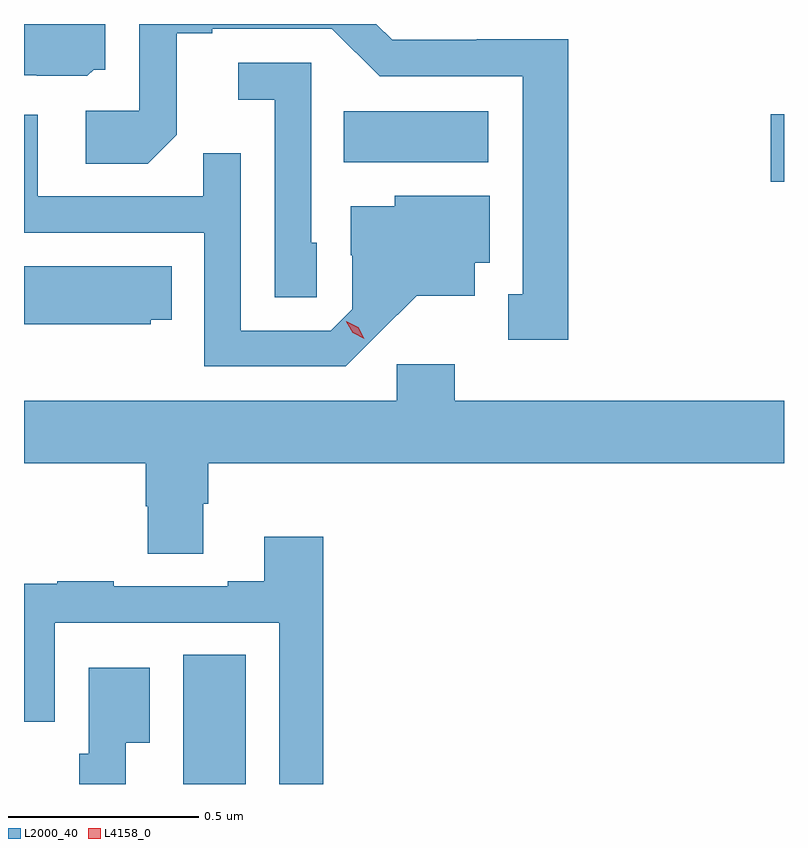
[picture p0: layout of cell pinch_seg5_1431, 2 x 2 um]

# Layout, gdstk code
import gdstk
lib = gdstk.Library(unit=1e-6, precision=1e-09)
def R(c, l, rs):  # rectangles x0, y0, x1, y1
    for r in rs: c.add(gdstk.rectangle(r[:2], r[2:], *l))
def P(c, l, *ps):  # polygons
    for p in ps: c.add(gdstk.Polygon(p, *l))
L2000_40 = (2000, 40)
L4158_0 = (4158, 0)

pinch_seg5_1431 = lib.new_cell('pinch_seg5_1431')
R(pinch_seg5_1431, L2000_40, [(131.84,905.2,132.004,905.54), (133.386,906.785,133.421,906.963), (132.262,906.836,132.643,906.97)])
P(pinch_seg5_1431, L2000_40, [(132.853,907.16),(132.612,907.16),(132.612,907.158),(132.39,907.158),(132.348,907.2),(131.724,907.2),(131.724,906.972),(131.583,906.972),(131.583,906.832),(131.747,906.832),(131.823,906.908),(131.823,907.176),(131.917,907.176),(131.917,907.188),(132.231,907.188),(132.357,907.062),(132.734,907.062),(132.734,906.489),(132.695,906.489),(132.695,906.369),(132.853,906.369)],
  [(131.604,907.08),(131.635,907.08),(131.635,907.2),(131.421,907.2),(131.421,907.065),(131.454,907.065),(131.454,907.064),(131.588,907.064)],
  [(132.192,906.624),(132.177,906.624),(132.177,907.098),(131.985,907.098),(131.985,907.001),(132.081,907.001),(132.081,906.481),(132.192,906.481)],
  [(132.352,906.383),(132.455,906.485),(132.607,906.485),(132.607,906.572),(132.646,906.572),(132.646,906.748),(132.396,906.748),(132.396,906.721),(132.281,906.721),(132.281,906.592),(132.285,906.592),(132.285,906.45),(132.228,906.393),(131.991,906.393),(131.991,906.86),(131.893,906.86),(131.893,906.747),(131.457,906.747),(131.457,906.961),(131.421,906.961),(131.421,906.651),(131.895,906.651),(131.895,906.3),(132.268,906.3)],
  [(131.754,906.422),(131.81,906.422),(131.81,906.562),(131.421,906.562),(131.421,906.41),(131.754,906.41)],
  [(131.893,905.938),(131.906,905.938),(131.906,906.044),(133.421,906.044),(133.421,906.208),(132.554,906.208),(132.554,906.304),(132.402,906.304),(132.402,906.208),(131.421,906.208),(131.421,906.044),(131.741,906.044),(131.741,905.931),(131.746,905.931),(131.746,905.806),(131.893,905.806)],
  [(132.209,905.851),(132.053,905.851),(132.053,905.734),(131.957,905.734),(131.957,905.721),(131.657,905.721),(131.657,905.734),(131.509,905.734),(131.509,905.727),(131.421,905.727),(131.421,905.364),(131.502,905.364),(131.502,905.625),(132.093,905.625),(132.093,905.2),(132.209,905.2)],
  [(131.689,905.309),(131.752,905.309),(131.752,905.506),(131.591,905.506),(131.591,905.28),(131.567,905.28),(131.567,905.2),(131.689,905.2)])
P(pinch_seg5_1431, L4158_0, [(132.317,906.372),(132.286,906.388),(132.269,906.417),(132.269,906.418),(132.269,906.418),(132.3,906.402),(132.317,906.372),(132.317,906.372)])

lib.write_gds('pinch_seg5_1431.gds')
